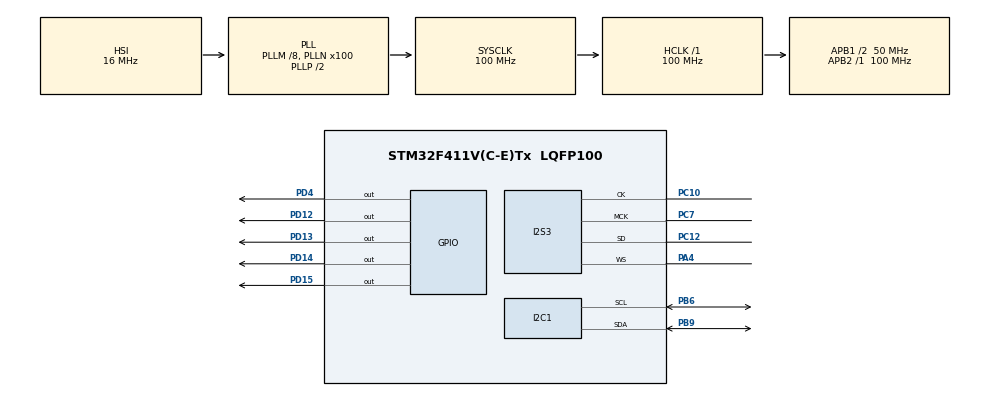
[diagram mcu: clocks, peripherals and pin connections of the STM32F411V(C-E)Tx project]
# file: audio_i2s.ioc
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I2S3.ErrorAudioFreq=-0.27 %
I2S3.FullDuplexMode=I2S_FULLDUPLEXMODE_DISABLE
I2S3.Instance=SPI$Index
I2S3.RealAudioFreq=7.978 KHz
I2S3.VirtualMode=I2S_MODE_MASTER
Mcu.Family=STM32F4
Mcu.Name=STM32F411V(C-E)Tx
Mcu.Package=LQFP100
NVIC.PriorityGroup=NVIC_PRIORITYGROUP_4
PA4.Mode=Half_Duplex_Master
PA4.Signal=I2S3_WS
PB6.Mode=I2C
PB6.Signal=I2C1_SCL
PB9.Mode=I2C
PB9.Signal=I2C1_SDA
PC10.Mode=Half_Duplex_Master
PC10.Signal=I2S3_CK
PC12.Mode=Half_Duplex_Master
PC12.Signal=I2S3_SD
PC7.Mode=Master_Clock_Activated
PC7.Signal=I2S3_MCK
PD12.Signal=GPIO_Output
PD13.Signal=GPIO_Output
PD14.Signal=GPIO_Output
PD15.Signal=GPIO_Output
PD4.Signal=GPIO_Output
PH0\ -\ OSC_IN.Mode=HSE-External-Oscillator
PH0\ -\ OSC_IN.Signal=RCC_OSC_IN
PH1\ -\ OSC_OUT.Mode=HSE-External-Oscillator
PH1\ -\ OSC_OUT.Signal=RCC_OSC_OUT
ProjectManager.HeapSize=0x200
ProjectManager.StackSize=0x400
ProjectManager.TargetToolchain=MDK-ARM V5.27
RCC.48MHZClocksFreq_Value=50000000
RCC.AHBFreq_Value=100000000
RCC.APB1CLKDivider=RCC_HCLK_DIV2
RCC.APB1Freq_Value=50000000
RCC.APB1TimFreq_Value=100000000
RCC.APB2Freq_Value=100000000
RCC.APB2TimFreq_Value=100000000
RCC.CortexFreq_Value=100000000
RCC.HCLKFreq_Value=100000000
RCC.HSE_VALUE=25000000
RCC.HSI_VALUE=16000000
RCC.LSE_VALUE=32768
RCC.PLLM=8
RCC.PLLN=100
RCC.SYSCLKFreq_VALUE=100000000
RCC.SYSCLKSource=RCC_SYSCLKSOURCE_PLLCLK
RCC.VCOOutputFreq_Value=200000000
board=custom

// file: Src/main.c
/* USER CODE BEGIN Header */
/**
  ******************************************************************************
  * @file           : main.c
  * @brief          : Main program body
  ******************************************************************************
  * @attention
  *
  * <h2><center>&copy; Copyright (c) 2020 STMicroelectronics.
  * All rights reserved.</center></h2>
  *
  * This software component is licensed by ST under BSD 3-Clause license,
  * the "License"; You may not use this file except in compliance with the
  * License. You may obtain a copy of the License at:
  *                        opensource.org/licenses/BSD-3-Clause
  *
  ******************************************************************************
  */
/* USER CODE END Header */

#include "main.h"

/* USER CODE BEGIN Includes */
#include "cs43_driver.h"
#include <math.h>
/* USER CODE END Includes */

/* USER CODE BEGIN PD */
#define PI 3.14159f
#define F_SAMPLE 48000.0f
float F_OUT = 1500.0f;
/* USER CODE END PD */

I2C_HandleTypeDef hi2c1;

I2S_HandleTypeDef hi2s3;

/* USER CODE BEGIN PV */
float _sine;
float sample_dt;
uint16_t sample_N;
uint16_t i_t;

uint16_t data_I2S[100];
/* USER CODE END PV */

void SystemClock_Config(void);
static void MX_GPIO_Init(void);
static void MX_I2C1_Init(void);
static void MX_I2S3_Init(void);

int main(void)
{
  /* USER CODE BEGIN 1 */
	sample_dt = F_OUT / F_SAMPLE;
	sample_N = F_SAMPLE / F_OUT;
  /* USER CODE END 1 */

  /* MCU Configuration--------------------------------------------------------*/

  /* Reset of all peripherals, Initializes the Flash interface and the Systick. */
  HAL_Init();

  /* Configure the system clock */
  SystemClock_Config();

  /* Initialize all configured peripherals */
  MX_GPIO_Init();
  MX_I2C1_Init();
  MX_I2S3_Init();
  /* USER CODE BEGIN 2 */
	CS43_Init(hi2c1, MODE_I2S);
	CS43_SetVolume(30);
	CS43_Enable_RightLeft(CS43_RIGHT_LEFT);
	CS43_Start();

	for(uint16_t index = 0; index < sample_N; index++)
	{
		_sine = sinf(index * 2 * PI * sample_dt);
		data_I2S[index * 2] = (_sine + 0) * 8000;
		data_I2S[index * 2 + 1] = (_sine + 0) * 8000;
	}
	HAL_I2S_Transmit_DMA(&hi2s3, (uint16_t *)data_I2S, sample_N * 2);
  /* USER CODE END 2 */

  /* Infinite loop */
  while (1)
  {

    /* USER CODE BEGIN 3 */
		F_OUT+= 1000.f;
		HAL_Delay(250);
  }
  /* USER CODE END 3 */
}

void SystemClock_Config(void)
{
  RCC_OscInitTypeDef RCC_OscInitStruct = {0};
  RCC_ClkInitTypeDef RCC_ClkInitStruct = {0};
  RCC_PeriphCLKInitTypeDef PeriphClkInitStruct = {0};

  /** Configure the main internal regulator output voltage
  */
  __HAL_RCC_PWR_CLK_ENABLE();
  __HAL_PWR_VOLTAGESCALING_CONFIG(PWR_REGULATOR_VOLTAGE_SCALE1);
  /** Initializes the CPU, AHB and APB busses clocks
  */
  RCC_OscInitStruct.OscillatorType = RCC_OSCILLATORTYPE_HSI;
  RCC_OscInitStruct.HSIState = RCC_HSI_ON;
  RCC_OscInitStruct.HSICalibrationValue = RCC_HSICALIBRATION_DEFAULT;
  RCC_OscInitStruct.PLL.PLLState = RCC_PLL_ON;
  RCC_OscInitStruct.PLL.PLLSource = RCC_PLLSOURCE_HSI;
  RCC_OscInitStruct.PLL.PLLM = 8;
  RCC_OscInitStruct.PLL.PLLN = 100;
  RCC_OscInitStruct.PLL.PLLP = RCC_PLLP_DIV2;
  RCC_OscInitStruct.PLL.PLLQ = 4;
  if (HAL_RCC_OscConfig(&RCC_OscInitStruct) != HAL_OK)
  {
    Error_Handler();
  }
  /** Initializes the CPU, AHB and APB busses clocks
  */
  RCC_ClkInitStruct.ClockType = RCC_CLOCKTYPE_HCLK|RCC_CLOCKTYPE_SYSCLK
                              |RCC_CLOCKTYPE_PCLK1|RCC_CLOCKTYPE_PCLK2;
  RCC_ClkInitStruct.SYSCLKSource = RCC_SYSCLKSOURCE_PLLCLK;
  RCC_ClkInitStruct.AHBCLKDivider = RCC_SYSCLK_DIV1;
  RCC_ClkInitStruct.APB1CLKDivider = RCC_HCLK_DIV2;
  RCC_ClkInitStruct.APB2CLKDivider = RCC_HCLK_DIV1;

  if (HAL_RCC_ClockConfig(&RCC_ClkInitStruct, FLASH_LATENCY_3) != HAL_OK)
  {
    Error_Handler();
  }
  PeriphClkInitStruct.PeriphClockSelection = RCC_PERIPHCLK_I2S;
  PeriphClkInitStruct.PLLI2S.PLLI2SN = 192;
  PeriphClkInitStruct.PLLI2S.PLLI2SM = 16;
  PeriphClkInitStruct.PLLI2S.PLLI2SR = 2;
  if (HAL_RCCEx_PeriphCLKConfig(&PeriphClkInitStruct) != HAL_OK)
  {
    Error_Handler();
  }
}

static void MX_I2C1_Init(void)
{

  hi2c1.Instance = I2C1;
  hi2c1.Init.ClockSpeed = 100000;
  hi2c1.Init.DutyCycle = I2C_DUTYCYCLE_2;
  hi2c1.Init.OwnAddress1 = 0;
  hi2c1.Init.AddressingMode = I2C_ADDRESSINGMODE_7BIT;
  hi2c1.Init.DualAddressMode = I2C_DUALADDRESS_DISABLE;
  hi2c1.Init.OwnAddress2 = 0;
  hi2c1.Init.GeneralCallMode = I2C_GENERALCALL_DISABLE;
  hi2c1.Init.NoStretchMode = I2C_NOSTRETCH_DISABLE;
  if (HAL_I2C_Init(&hi2c1) != HAL_OK)
  {
    Error_Handler();
  }

}

static void MX_I2S3_Init(void)
{

  hi2s3.Instance = SPI3;
  hi2s3.Init.Mode = I2S_MODE_MASTER_TX;
  hi2s3.Init.Standard = I2S_STANDARD_PHILIPS;
  hi2s3.Init.DataFormat = I2S_DATAFORMAT_16B;
  hi2s3.Init.MCLKOutput = I2S_MCLKOUTPUT_ENABLE;
  hi2s3.Init.AudioFreq = I2S_AUDIOFREQ_8K;
  hi2s3.Init.CPOL = I2S_CPOL_LOW;
  hi2s3.Init.ClockSource = I2S_CLOCK_PLL;
  hi2s3.Init.FullDuplexMode = I2S_FULLDUPLEXMODE_DISABLE;
  if (HAL_I2S_Init(&hi2s3) != HAL_OK)
  {
    Error_Handler();
  }

}

static void MX_GPIO_Init(void)
{
  GPIO_InitTypeDef GPIO_InitStruct = {0};

  /* GPIO Ports Clock Enable */
  __HAL_RCC_GPIOH_CLK_ENABLE();
  __HAL_RCC_GPIOA_CLK_ENABLE();
  __HAL_RCC_GPIOD_CLK_ENABLE();
  __HAL_RCC_GPIOC_CLK_ENABLE();
  __HAL_RCC_GPIOB_CLK_ENABLE();

  /*Configure GPIO pin Output Level */
  HAL_GPIO_WritePin(GPIOD, GPIO_PIN_12|GPIO_PIN_13|GPIO_PIN_14|GPIO_PIN_15
                          |GPIO_PIN_4, GPIO_PIN_RESET);

  /*Configure GPIO pins : PD12 PD13 PD14 PD15
                           PD4 */
  GPIO_InitStruct.Pin = GPIO_PIN_12|GPIO_PIN_13|GPIO_PIN_14|GPIO_PIN_15
                          |GPIO_PIN_4;
  GPIO_InitStruct.Mode = GPIO_MODE_OUTPUT_PP;
  GPIO_InitStruct.Pull = GPIO_NOPULL;
  GPIO_InitStruct.Speed = GPIO_SPEED_FREQ_LOW;
  HAL_GPIO_Init(GPIOD, &GPIO_InitStruct);

}

void Error_Handler(void)
{
}

/************************ (C) COPYRIGHT STMicroelectronics *****END OF FILE****/
